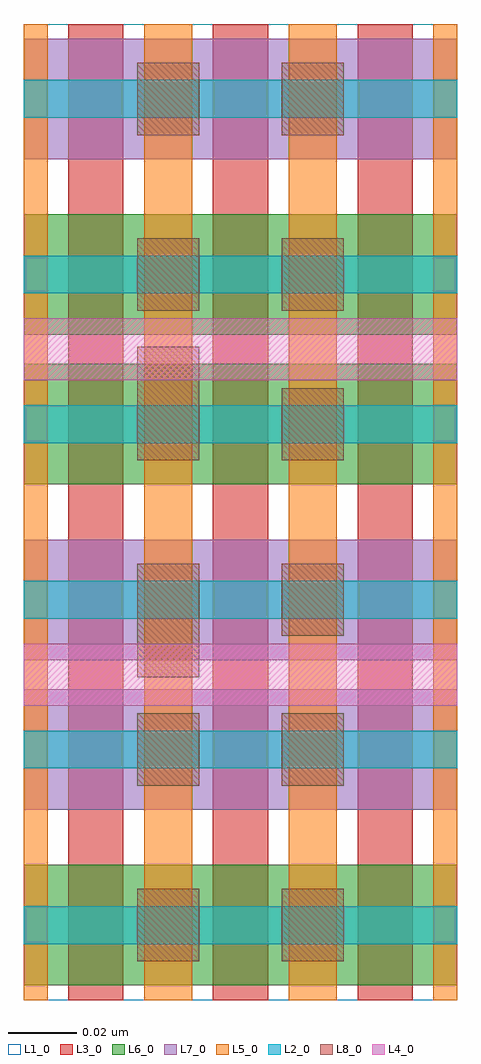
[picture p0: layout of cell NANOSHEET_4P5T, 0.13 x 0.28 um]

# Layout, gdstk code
import gdstk
lib = gdstk.Library(unit=1e-6, precision=1e-11)
def R(c, l, rs):  # rectangles x0, y0, x1, y1
    for r in rs: c.add(gdstk.rectangle(r[:2], r[2:], *l))
def A(c, l, x, y, w, h, nx, ny, dx, dy):  # array of equal rectangles
    R(c, l, [(x+i*dx, y+j*dy, x+i*dx+w, y+j*dy+h) for i in range(nx) for j in range(ny)])
L1_0 = (1, 0)
L2_0 = (2, 0)
L3_0 = (3, 0)
L4_0 = (4, 0)
L5_0 = (5, 0)
L6_0 = (6, 0)
L7_0 = (7, 0)
L8_0 = (8, 0)

nanosheet_4p5t = lib.new_cell('NANOSHEET_4P5T')
R(nanosheet_4p5t, L1_0, [(0,0,0.126,0.2835)])
R(nanosheet_4p5t, L2_0, [(0,0.0163,0.126,0.0273), (0,0.0673,0.126,0.0783), (0,0.1108,0.126,0.1218), (0,0.1618,0.126,0.1728), (0,0.2053,0.126,0.2163), (0,0.2563,0.126,0.2673)])
A(nanosheet_4p5t, L3_0, 0.013, 0, 0.016, 0.2835, 3, 1, 0.042, 0)
R(nanosheet_4p5t, L4_0, [(0,0.0855,0.126,0.1035), (0,0.18,0.126,0.198)])
R(nanosheet_4p5t, L5_0, [(0,0,0.007,0.2835), (0.035,0,0.049,0.2835), (0.077,0,0.091,0.2835), (0.119,0,0.126,0.2835)])
R(nanosheet_4p5t, L6_0, [(0,0.0043,0.126,0.0393), (0,0.1498,0.126,0.1848), (0,0.1933,0.126,0.2283)])
R(nanosheet_4p5t, L7_0, [(0,0.0553,0.126,0.0903), (0,0.0988,0.126,0.1338), (0,0.2443,0.126,0.2792)])
R(nanosheet_4p5t, L8_0, [(0.033,0.0113,0.051,0.0323), (0.075,0.0113,0.093,0.0323), (0.033,0.0623,0.051,0.0833), (0.075,0.0623,0.093,0.0833), (0.033,0.0938,0.051,0.1268), (0.075,0.1058,0.093,0.1268), (0.033,0.1568,0.051,0.1898), (0.075,0.1568,0.093,0.1778), (0.033,0.2003,0.051,0.2213), (0.075,0.2003,0.093,0.2213), (0.033,0.2513,0.051,0.2723), (0.075,0.2513,0.093,0.2723)])

lib.write_gds('NANOSHEET_4P5T.gds')
